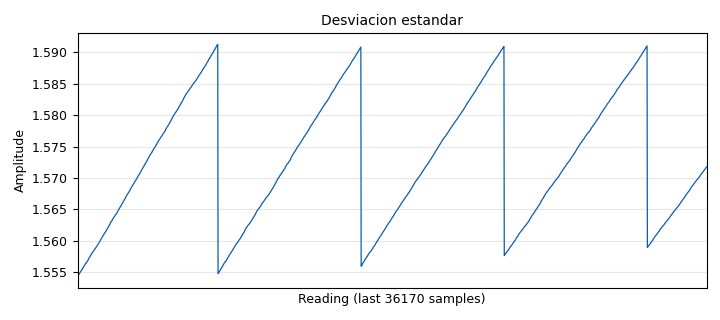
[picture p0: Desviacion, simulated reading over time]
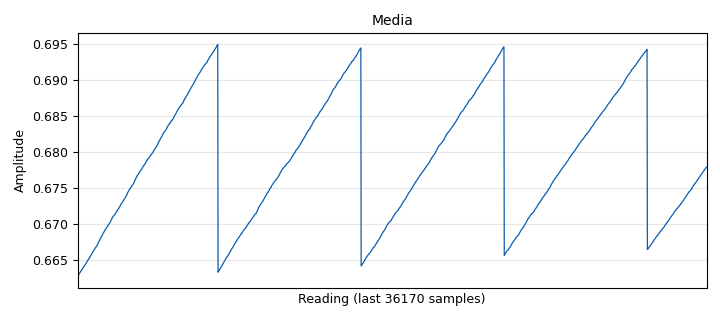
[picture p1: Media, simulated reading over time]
options:
  parameters:
    generate_options: qt_gui
    id: Lab_1
    output_language: python
    title: Lab_1
  states: {}

blocks:
- name: samp_rate
  id: variable
  parameters:
    value: '32000'
  states: {}
- name: Desviacion
  id: qtgui_number_sink
  parameters:
    graph_type: qtgui.NUM_GRAPH_HORIZ
    name: Desviacion estandar
    type: float
  states: {}
- name: Media
  id: qtgui_number_sink
  parameters:
    graph_type: qtgui.NUM_GRAPH_HORIZ
    name: Media
    type: float
  states: {}
- name: Media_cuadrarica
  id: qtgui_number_sink
  parameters:
    graph_type: qtgui.NUM_GRAPH_HORIZ
    name: Media Cuadratica
    type: float
  states: {}
- name: Potencia
  id: qtgui_number_sink
  parameters:
    graph_type: qtgui.NUM_GRAPH_HORIZ
    name: Potencia promedio
    type: float
  states: {}
- name: RMS
  id: qtgui_number_sink
  parameters:
    graph_type: qtgui.NUM_GRAPH_HORIZ
    name: RMS
    type: float
  states: {}
- name: analog_fastnoise_source_x_0
  id: analog_fastnoise_source_x
  parameters:
    amp: '1'
    noise_type: analog.GR_GAUSSIAN
    samples: '8192'
    seed: '0'
    type: float
  states: {}
- name: analog_noise_source_x_0
  id: analog_noise_source_x
  parameters:
    amp: '0.5'
    noise_type: analog.GR_GAUSSIAN
    seed: '0'
    type: float
  states: {state: disabled}
- name: blocks_add_xx_0
  id: blocks_add_xx
  parameters:
    type: float
  states: {}
- name: blocks_vector_source_x_0
  id: blocks_vector_source_x
  parameters:
    repeat: 'True'
    type: float
    vector: (1, 2, -1)
  states: {}
- name: epy_block_0
  id: epy_block
  parameters:
    _source_code: "import numpy as np\nfrom gnuradio import gr\n\nclass blk(gr.sync_block):\n\n\tdef __init__(self): #only default arguments here\n\t\tgr.sync_block.__init__(\n           \t\tself ,\n             \t\tname=\"e_Diff\", #will show up in GRC\n             \t\tin_sig=[np.float32],\n            \t\tout_sig=[np.float32],\n            \t\n            \t)\n\t\tself.acum_anterior = 0\n       \t\n        \n\tdef work(self, input_items , output_items):\n\t\tx = input_items[0]  #Serial de entrada.\n\t\ty0 = output_items[0] #Serial acumulado diferencial\n             \n\t\tN = len(x)\n\t\tdiff = np.cumsum(x) - self.acum_anterior\n\t\tself.acum_anterior = diff[N-1]\n\t\ty0[:] = diff\n\t\treturn len(y)\n             \n"
  states: {state: disabled}
- name: epy_block_1
  id: epy_block
  parameters:
    _source_code: |
      import numpy as np
      from gnuradio import gr

      class blk(gr.sync_block ):

      	def __init__(self): # only default arguments here
      		gr.sync_block.__init__(
      			self,
      			name = "e_Acum", # will show up in GRC
      			in_sig = [np.float32],
      			out_sig = [np.float32]
      		)
      		
      	def work(self, input_items, output_items ):
      		x = input_items[0] # Senial de entrada
      		y0 = output_items[0] # Senial acumulada
      		
      		y0[:] = np.cumsum(x)
      		
      		return len(y)
  states: {state: disabled}
- name: epy_block_2
  id: epy_block
  parameters:
    _source_code: |
      import numpy as np
      from gnuradio import gr
      	
      class blk (gr.sync_block):
      	def __init__ (self): # only default arguments here
      		gr.sync_block.__init__(
      		self,
      		name = "Promedios_de_tiempos", # will show up in GRC
      		in_sig = [np.float32],
      		out_sig =[np.float32,np.float32,np.float32,np.float32,np.float32]
      		)
      		self.acum_anterior = 0
      		self.Ntotales = 0
      		self.acum_anterior1 = 0
      		self.acum_anterior2 = 0


      	def work(self, input_items, output_items):
      		x = input_items[0] # Senial de entrada .
      		y0 = output_items[0] # Promedio de la senial
      		y1 = output_items[1] # Media de la senial
      		y2 = output_items[2] # RMS de la senial
      		y3 = output_items[3] # Potencia promedio de la senial
      		y4 = output_items[4] # Desviacion estandar de la senial
      		
      		# Calculo del promedio
      		N = len(x)
      		self.Ntotales = self.Ntotales + N
      		acumulado = self.acum_anterior + np.cumsum (x)
      		self.acum_anterior = acumulado[N-1]
      		y0[:] = acumulado / self.Ntotales
      		
      		# Calculo de la media cuadratica
      		x2 = np.multiply(x,x)
      		acumulado1 = self.acum_anterior1 + np.cumsum(x2)
      		self.acum_anterior1 = acumulado[N -1]
      		y1[:] = acumulado1 / self.Ntotales
      		
      		# Calculo de la RMS
      		y2[:] = np.sqrt(y1)
      		
      		# Calculo de la potencia promedio
      		y3[:] = np.multiply(y2 ,y2)
      		
      		# Calculo de la desviacion estandar
      		x3 = np.multiply(x-y0 ,x-y0)
      		acumulado2 = self.acum_anterior2 + np.cumsum(x3)
      		self.acum_anterior2 = acumulado2 [N-1]
      		y4[:] = np.sqrt (acumulado2 / self.Ntotales )
      		return len(x)
  states: {}

connections:
- [analog_fastnoise_source_x_0, '0', blocks_add_xx_0, '1']
- [analog_noise_source_x_0, '0', blocks_add_xx_0, '1']
- [blocks_add_xx_0, '0', epy_block_2, '0']
- [blocks_vector_source_x_0, '0', blocks_add_xx_0, '0']
- [epy_block_2, '0', Media, '0']
- [epy_block_2, '1', Media_cuadrarica, '0']
- [epy_block_2, '2', RMS, '0']
- [epy_block_2, '3', Potencia, '0']
- [epy_block_2, '4', Desviacion, '0']

metadata:
  file_format: 1
  grc_version: 3.9.8.0
